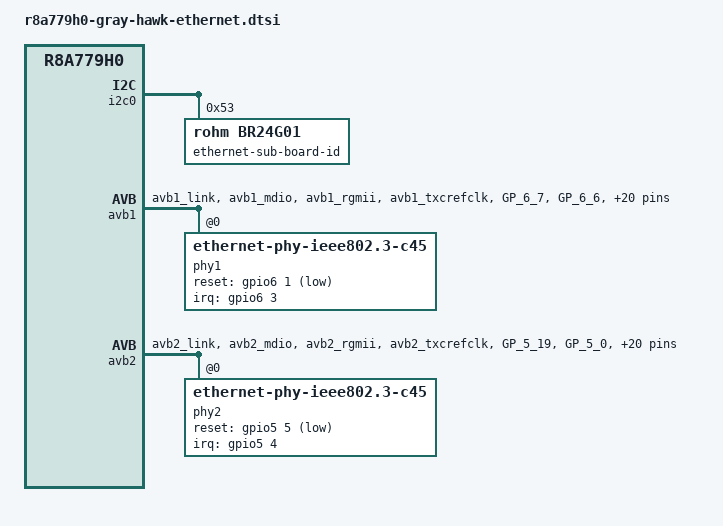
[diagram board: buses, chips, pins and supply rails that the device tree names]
// SPDX-License-Identifier: (GPL-2.0-only OR BSD-2-Clause)
/*
 * Device Tree Source for the R-Car V4M Gray Hawk Ethernet sub-board
 *
 * Copyright (C) 2023 Renesas Electronics Corp.
 */

&i2c0 {
	eeprom@53 {
		compatible = "rohm,br24g01", "atmel,24c01";
		label = "ethernet-sub-board-id";
		reg = <0x53>;
		pagesize = <8>;
	};
};

&pfc {
	avb1_pins: avb1 {
		mux {
			groups = "avb1_link", "avb1_mdio", "avb1_rgmii",
				"avb1_txcrefclk";
			function = "avb1";
		};

		pins_mdio {
			groups = "avb1_mdio";
			drive-strength = <24>;
		};

		pins_mii_tx {
			pins = "GP_6_7", "GP_6_6",
				"GP_6_13", "GP_6_12",
				"GP_6_16", "GP_6_18";
			drive-strength = <24>;
		};

		pin_tx_ctl {
			pins = "GP_6_7";
			bias-pull-up;
		};

		pins_puen_disable {
			pins = "GP_6_0", "GP_6_1", "GP_6_2", "GP_6_3", "GP_6_4",
				"GP_6_5", "GP_6_6", "GP_6_8", "GP_6_9", "GP_6_10",
				"GP_6_11", "GP_6_12", "GP_6_13", "GP_6_14", "GP_6_15",
				"GP_6_16", "GP_6_17", "GP_6_18", "GP_6_19", "GP_6_20";
			bias-disable;
		};
	};

	avb2_pins: avb2 {
		mux {
			groups = "avb2_link", "avb2_mdio", "avb2_rgmii",
				"avb2_txcrefclk";
			function = "avb2";
		};

		pins_mdio {
			groups = "avb2_mdio";
			drive-strength = <24>;
		};

		pin_tx_ctl {
			pins = "GP_5_19";
			bias-pull-up;
		};

		pins_puen_disable {
			pins = "GP_5_0", "GP_5_1", "GP_5_2", "GP_5_3", "GP_5_4",
				"GP_5_5", "GP_5_6", "GP_5_7", "GP_5_8", "GP_5_9", "GP_5_10",
				"GP_5_11", "GP_5_12", "GP_5_13", "GP_5_14", "GP_5_15",
				"GP_5_16", "GP_5_17", "GP_5_18", "GP_5_20";
			bias-disable;
		};
	};
};

&avb1 {
	pinctrl-0 = <&avb1_pins>;
	pinctrl-names = "default";
	phy-handle = <&phy1>;
	status = "okay";
	phy-reset-gpios = <&gpio6 1 GPIO_ACTIVE_LOW>;

	phy1: ethernet-phy@1 {
		compatible = "ethernet-phy-ieee802.3-c45";
		reg = <0>;
		interrupt-parent = <&gpio6>;
		interrupts = <3 IRQ_TYPE_LEVEL_LOW>;
		reset-gpios = <&gpio6 1 GPIO_ACTIVE_LOW>;
	};
};

&avb2 {
	pinctrl-0 = <&avb2_pins>;
	pinctrl-names = "default";
	phy-handle = <&phy2>;
	status = "okay";
	phy-reset-gpios = <&gpio5 5 GPIO_ACTIVE_LOW>;

	phy2: ethernet-phy@2 {
		compatible = "ethernet-phy-ieee802.3-c45";
		reg = <0>;
		interrupt-parent = <&gpio5>;
		interrupts = <4 IRQ_TYPE_LEVEL_LOW>;
		reset-gpios = <&gpio5 5 GPIO_ACTIVE_LOW>;
	};
};
